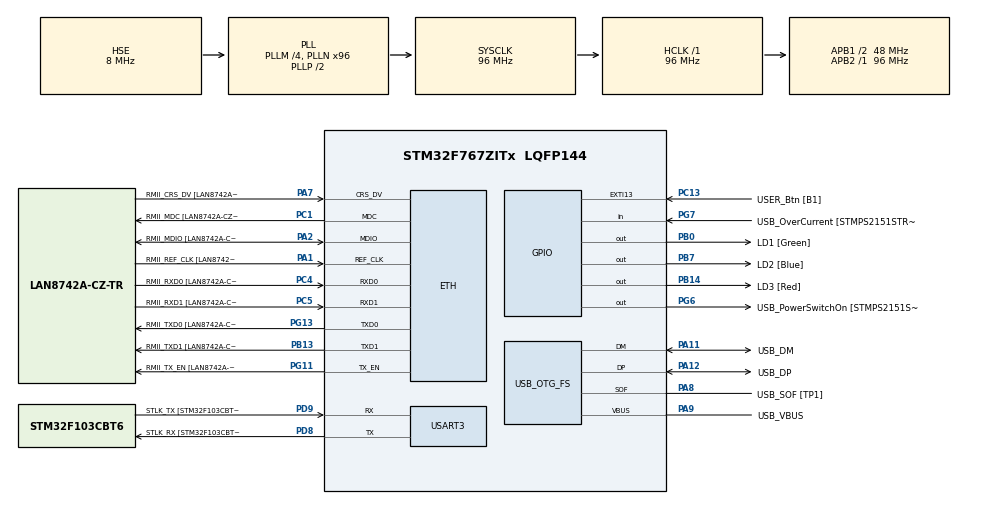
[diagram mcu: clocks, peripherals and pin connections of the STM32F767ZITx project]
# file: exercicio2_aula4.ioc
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ETH.MediaInterface=HAL_ETH_RMII_MODE
ETH.PHY_Name=LAN8742A_PHY_ADDRESS
ETH.PHY_Value=0
ETH.PhyAddress=0
FREERTOS.CountingSemaphores01=Semaforocont,2,Dynamic,NULL,0
FREERTOS.Tasks01=Task01,24,128,Task01Fun,Default,NULL,Dynamic,NULL,NULL;Task02,24,128,Task02Fun,Default,NULL,Dynamic,NULL,NULL;Task03,24,128,Task03Fun,Default,NULL,Dynamic,NULL,NULL
FREERTOS.configUSE_NEWLIB_REENTRANT=1
Mcu.Family=STM32F7
Mcu.Name=STM32F767ZITx
Mcu.Package=LQFP144
NVIC.EXTI15_10_IRQn=true\:5\:0\:false\:false\:true\:true\:true\:true\:true
NVIC.PriorityGroup=NVIC_PRIORITYGROUP_4
NVIC.TIM1_UP_TIM10_IRQn=true\:15\:0\:false\:false\:true\:false\:false\:true\:true
NVIC.TimeBase=TIM1_UP_TIM10_IRQn
NVIC.TimeBaseIP=TIM1
PA1.GPIO_Label=RMII_REF_CLK [LAN8742A-CZ-TR_REFCLK0]
PA1.Mode=RMII
PA1.Signal=ETH_REF_CLK
PA10.GPIO_Label=USB_ID
PA10.Signal=USB_OTG_FS_ID
PA11.GPIO_Label=USB_DM
PA11.Mode=Device_Only
PA11.Signal=USB_OTG_FS_DM
PA12.GPIO_Label=USB_DP
PA12.Mode=Device_Only
PA12.Signal=USB_OTG_FS_DP
PA13.GPIO_Label=TMS
PA13.Mode=Serial_Wire
PA13.Signal=SYS_JTMS-SWDIO
PA14.GPIO_Label=TCK
PA14.Mode=Serial_Wire
PA14.Signal=SYS_JTCK-SWCLK
PA2.GPIO_Label=RMII_MDIO [LAN8742A-CZ-TR_MDIO]
PA2.Mode=RMII
PA2.Signal=ETH_MDIO
PA7.GPIO_Label=RMII_CRS_DV [LAN8742A-CZ-TR_CRS_DV]
PA7.Mode=RMII
PA7.Signal=ETH_CRS_DV
PA8.GPIO_Label=USB_SOF [TP1]
PA8.Mode=Activate_SOF_FS
PA8.Signal=USB_OTG_FS_SOF
PA9.GPIO_Label=USB_VBUS
PA9.Mode=Activate_VBUS
PA9.Signal=USB_OTG_FS_VBUS
PB0.GPIO_Label=LD1 [Green]
PB0.Signal=GPIO_Output
PB13.GPIO_Label=RMII_TXD1 [LAN8742A-CZ-TR_TXD1]
PB13.Mode=RMII
PB13.Signal=ETH_TXD1
PB14.GPIO_Label=LD3 [Red]
PB14.Signal=GPIO_Output
PB3.GPIO_Label=SWO
PB3.Signal=SYS_JTDO-SWO
PB7.GPIO_Label=LD2 [Blue]
PB7.Signal=GPIO_Output
PC1.GPIO_Label=RMII_MDC [LAN8742A-CZ-TR_MDC]
PC1.Mode=RMII
PC1.Signal=ETH_MDC
PC13.GPIO_Label=USER_Btn [B1]
PC13.Signal=GPXTI13
PC14/OSC32_IN.Mode=LSE-External-Oscillator
PC14/OSC32_IN.Signal=RCC_OSC32_IN
PC15/OSC32_OUT.Mode=LSE-External-Oscillator
PC15/OSC32_OUT.Signal=RCC_OSC32_OUT
PC4.GPIO_Label=RMII_RXD0 [LAN8742A-CZ-TR_RXD0]
PC4.Mode=RMII
PC4.Signal=ETH_RXD0
PC5.GPIO_Label=RMII_RXD1 [LAN8742A-CZ-TR_RXD1]
PC5.Mode=RMII
PC5.Signal=ETH_RXD1
PD8.GPIO_Label=STLK_RX [STM32F103CBT6_PA3]
PD8.Mode=Asynchronous
PD8.Signal=USART3_TX
PD9.GPIO_Label=STLK_TX [STM32F103CBT6_PA2]
PD9.Mode=Asynchronous
PD9.Signal=USART3_RX
PG11.GPIO_Label=RMII_TX_EN [LAN8742A-CZ-TR_TXEN]
PG11.Mode=RMII
PG11.Signal=ETH_TX_EN
PG13.GPIO_Label=RMII_TXD0 [LAN8742A-CZ-TR_TXD0]
PG13.Mode=RMII
PG13.Signal=ETH_TXD0
PG6.GPIO_Label=USB_PowerSwitchOn [STMPS2151STR_EN]
PG6.Signal=GPIO_Output
PG7.GPIO_Label=USB_OverCurrent [STMPS2151STR_FAULT]
PG7.Signal=GPIO_Input
PH0/OSC_IN.GPIO_Label=MCO [STM32F103CBT6_PA8]
PH0/OSC_IN.Mode=HSE-External-Clock-Source
PH0/OSC_IN.Signal=RCC_OSC_IN
PH1/OSC_OUT.Mode=HSE-External-Clock-Source
PH1/OSC_OUT.Signal=RCC_OSC_OUT
ProjectManager.HeapSize=0x200
ProjectManager.StackSize=0x400
ProjectManager.TargetToolchain=STM32CubeIDE
RCC.48MHZClocksFreq_Value=24000000
RCC.AHBFreq_Value=96000000
RCC.APB1CLKDivider=RCC_HCLK_DIV2
RCC.APB1Freq_Value=48000000
RCC.APB1TimFreq_Value=96000000
RCC.APB2Freq_Value=96000000
RCC.APB2TimFreq_Value=96000000
RCC.CortexFreq_Value=96000000
RCC.HCLKFreq_Value=96000000
RCC.HSE_VALUE=8000000
RCC.HSI_VALUE=16000000
RCC.PLLM=4
RCC.PLLMUL=RCC_PLL_MUL9
RCC.PLLN=96
RCC.PLLQ=4
RCC.PRESCALERUSB=RCC_USBCLKSOURCE_PLL_DIV1_5
RCC.SYSCLKFreq_VALUE=96000000
RCC.SYSCLKSource=RCC_SYSCLKSOURCE_PLLCLK
RCC.SYSCLKSourceVirtual=RCC_SYSCLKSOURCE_PLLCLK
RCC.USBFreq_Value=48000000
RCC.VCOOutputFreq_Value=192000000
USART3.VirtualMode-Asynchronous=VM_ASYNC
USB_OTG_FS.VirtualMode=Device_Only
VP_FREERTOS_VS_CMSIS_V2.Mode=CMSIS_V2
VP_SYS_VS_tim1.Mode=TIM1
board=NUCLEO-F767ZI

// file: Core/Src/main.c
/* USER CODE BEGIN Header */
/**
  ******************************************************************************
  * @file           : main.c
  * @brief          : Main program body
  ******************************************************************************
  * @attention
  *
  * Copyright (c) 2025 STMicroelectronics.
  * All rights reserved.
  *
  * This software is licensed under terms that can be found in the LICENSE file
  * in the root directory of this software component.
  * If no LICENSE file comes with this software, it is provided AS-IS.
  *
  ******************************************************************************
  */
/* USER CODE END Header */
#include "main.h"
#include "string.h"
#include "cmsis_os.h"

#if defined ( __ICCARM__ ) /*!< IAR Compiler */
#pragma location=0x2007c000
ETH_DMADescTypeDef  DMARxDscrTab[ETH_RX_DESC_CNT]; /* Ethernet Rx DMA Descriptors */
#pragma location=0x2007c0a0
ETH_DMADescTypeDef  DMATxDscrTab[ETH_TX_DESC_CNT]; /* Ethernet Tx DMA Descriptors */

#elif defined ( __CC_ARM )  /* MDK ARM Compiler */

__attribute__((at(0x2007c000))) ETH_DMADescTypeDef  DMARxDscrTab[ETH_RX_DESC_CNT]; /* Ethernet Rx DMA Descriptors */
__attribute__((at(0x2007c0a0))) ETH_DMADescTypeDef  DMATxDscrTab[ETH_TX_DESC_CNT]; /* Ethernet Tx DMA Descriptors */

#elif defined ( __GNUC__ ) /* GNU Compiler */

ETH_DMADescTypeDef DMARxDscrTab[ETH_RX_DESC_CNT] __attribute__((section(".RxDecripSection"))); /* Ethernet Rx DMA Descriptors */
ETH_DMADescTypeDef DMATxDscrTab[ETH_TX_DESC_CNT] __attribute__((section(".TxDecripSection")));   /* Ethernet Tx DMA Descriptors */
#endif

ETH_TxPacketConfig TxConfig;

ETH_HandleTypeDef heth;

UART_HandleTypeDef huart3;

PCD_HandleTypeDef hpcd_USB_OTG_FS;

/* Definitions for Task01 */
osThreadId_t Task01Handle;
const osThreadAttr_t Task01_attributes = {
  .name = "Task01",
  .stack_size = 128 * 4,
  .priority = (osPriority_t) osPriorityNormal,
};
/* Definitions for Task02 */
osThreadId_t Task02Handle;
const osThreadAttr_t Task02_attributes = {
  .name = "Task02",
  .stack_size = 128 * 4,
  .priority = (osPriority_t) osPriorityNormal,
};
/* Definitions for Task03 */
osThreadId_t Task03Handle;
const osThreadAttr_t Task03_attributes = {
  .name = "Task03",
  .stack_size = 128 * 4,
  .priority = (osPriority_t) osPriorityNormal,
};
/* Definitions for Semaforocont */
osSemaphoreId_t SemaforocontHandle;
const osSemaphoreAttr_t Semaforocont_attributes = {
  .name = "Semaforocont"
};

void SystemClock_Config(void);
static void MX_GPIO_Init(void);
static void MX_ETH_Init(void);
static void MX_USART3_UART_Init(void);
static void MX_USB_OTG_FS_PCD_Init(void);
void Task01Fun(void *argument);
void Task02Fun(void *argument);
void Task03Fun(void *argument);

int main(void)
{

  /* MCU Configuration--------------------------------------------------------*/

  /* Reset of all peripherals, Initializes the Flash interface and the Systick. */
  HAL_Init();

  /* Configure the system clock */
  SystemClock_Config();

  /* Initialize all configured peripherals */
  MX_GPIO_Init();
  MX_ETH_Init();
  MX_USART3_UART_Init();
  MX_USB_OTG_FS_PCD_Init();

  /* Init scheduler */
  osKernelInitialize();

  /* Create the semaphores(s) */
  /* creation of Semaforocont */
  SemaforocontHandle = osSemaphoreNew(2, 0, &Semaforocont_attributes);

  /* Create the thread(s) */
  /* creation of Task01 */
  Task01Handle = osThreadNew(Task01Fun, NULL, &Task01_attributes);

  /* creation of Task02 */
  Task02Handle = osThreadNew(Task02Fun, NULL, &Task02_attributes);

  /* creation of Task03 */
  Task03Handle = osThreadNew(Task03Fun, NULL, &Task03_attributes);

  /* Start scheduler */
  osKernelStart();

  /* We should never get here as control is now taken by the scheduler */

  /* Infinite loop */
  while (1)
  {

  }
}

void SystemClock_Config(void)
{
  RCC_OscInitTypeDef RCC_OscInitStruct = {0};
  RCC_ClkInitTypeDef RCC_ClkInitStruct = {0};

  /** Configure LSE Drive Capability
  */
  HAL_PWR_EnableBkUpAccess();

  /** Configure the main internal regulator output voltage
  */
  __HAL_RCC_PWR_CLK_ENABLE();
  __HAL_PWR_VOLTAGESCALING_CONFIG(PWR_REGULATOR_VOLTAGE_SCALE3);

  /** Initializes the RCC Oscillators according to the specified parameters
  * in the RCC_OscInitTypeDef structure.
  */
  RCC_OscInitStruct.OscillatorType = RCC_OSCILLATORTYPE_HSE;
  RCC_OscInitStruct.HSEState = RCC_HSE_BYPASS;
  RCC_OscInitStruct.PLL.PLLState = RCC_PLL_ON;
  RCC_OscInitStruct.PLL.PLLSource = RCC_PLLSOURCE_HSE;
  RCC_OscInitStruct.PLL.PLLM = 4;
  RCC_OscInitStruct.PLL.PLLN = 96;
  RCC_OscInitStruct.PLL.PLLP = RCC_PLLP_DIV2;
  RCC_OscInitStruct.PLL.PLLQ = 4;
  RCC_OscInitStruct.PLL.PLLR = 2;
  if (HAL_RCC_OscConfig(&RCC_OscInitStruct) != HAL_OK)
  {
    Error_Handler();
  }

  /** Activate the Over-Drive mode
  */
  if (HAL_PWREx_EnableOverDrive() != HAL_OK)
  {
    Error_Handler();
  }

  /** Initializes the CPU, AHB and APB buses clocks
  */
  RCC_ClkInitStruct.ClockType = RCC_CLOCKTYPE_HCLK|RCC_CLOCKTYPE_SYSCLK
                              |RCC_CLOCKTYPE_PCLK1|RCC_CLOCKTYPE_PCLK2;
  RCC_ClkInitStruct.SYSCLKSource = RCC_SYSCLKSOURCE_PLLCLK;
  RCC_ClkInitStruct.AHBCLKDivider = RCC_SYSCLK_DIV1;
  RCC_ClkInitStruct.APB1CLKDivider = RCC_HCLK_DIV2;
  RCC_ClkInitStruct.APB2CLKDivider = RCC_HCLK_DIV1;

  if (HAL_RCC_ClockConfig(&RCC_ClkInitStruct, FLASH_LATENCY_3) != HAL_OK)
  {
    Error_Handler();
  }
}

static void MX_ETH_Init(void)
{

   static uint8_t MACAddr[6];

  heth.Instance = ETH;
  MACAddr[0] = 0x00;
  MACAddr[1] = 0x80;
  MACAddr[2] = 0xE1;
  MACAddr[3] = 0x00;
  MACAddr[4] = 0x00;
  MACAddr[5] = 0x00;
  heth.Init.MACAddr = &MACAddr[0];
  heth.Init.MediaInterface = HAL_ETH_RMII_MODE;
  heth.Init.TxDesc = DMATxDscrTab;
  heth.Init.RxDesc = DMARxDscrTab;
  heth.Init.RxBuffLen = 1524;

  if (HAL_ETH_Init(&heth) != HAL_OK)
  {
    Error_Handler();
  }

  memset(&TxConfig, 0 , sizeof(ETH_TxPacketConfig));
  TxConfig.Attributes = ETH_TX_PACKETS_FEATURES_CSUM | ETH_TX_PACKETS_FEATURES_CRCPAD;
  TxConfig.ChecksumCtrl = ETH_CHECKSUM_IPHDR_PAYLOAD_INSERT_PHDR_CALC;
  TxConfig.CRCPadCtrl = ETH_CRC_PAD_INSERT;

}

static void MX_USART3_UART_Init(void)
{

  huart3.Instance = USART3;
  huart3.Init.BaudRate = 115200;
  huart3.Init.WordLength = UART_WORDLENGTH_8B;
  huart3.Init.StopBits = UART_STOPBITS_1;
  huart3.Init.Parity = UART_PARITY_NONE;
  huart3.Init.Mode = UART_MODE_TX_RX;
  huart3.Init.HwFlowCtl = UART_HWCONTROL_NONE;
  huart3.Init.OverSampling = UART_OVERSAMPLING_16;
  huart3.Init.OneBitSampling = UART_ONE_BIT_SAMPLE_DISABLE;
  huart3.AdvancedInit.AdvFeatureInit = UART_ADVFEATURE_NO_INIT;
  if (HAL_UART_Init(&huart3) != HAL_OK)
  {
    Error_Handler();
  }

}

static void MX_USB_OTG_FS_PCD_Init(void)
{

  hpcd_USB_OTG_FS.Instance = USB_OTG_FS;
  hpcd_USB_OTG_FS.Init.dev_endpoints = 6;
  hpcd_USB_OTG_FS.Init.speed = PCD_SPEED_FULL;
  hpcd_USB_OTG_FS.Init.dma_enable = DISABLE;
  hpcd_USB_OTG_FS.Init.phy_itface = PCD_PHY_EMBEDDED;
  hpcd_USB_OTG_FS.Init.Sof_enable = ENABLE;
  hpcd_USB_OTG_FS.Init.low_power_enable = DISABLE;
  hpcd_USB_OTG_FS.Init.lpm_enable = DISABLE;
  hpcd_USB_OTG_FS.Init.vbus_sensing_enable = ENABLE;
  hpcd_USB_OTG_FS.Init.use_dedicated_ep1 = DISABLE;
  if (HAL_PCD_Init(&hpcd_USB_OTG_FS) != HAL_OK)
  {
    Error_Handler();
  }

}

static void MX_GPIO_Init(void)
{
  GPIO_InitTypeDef GPIO_InitStruct = {0};

  /* GPIO Ports Clock Enable */
  __HAL_RCC_GPIOC_CLK_ENABLE();
  __HAL_RCC_GPIOH_CLK_ENABLE();
  __HAL_RCC_GPIOA_CLK_ENABLE();
  __HAL_RCC_GPIOB_CLK_ENABLE();
  __HAL_RCC_GPIOD_CLK_ENABLE();
  __HAL_RCC_GPIOG_CLK_ENABLE();

  /*Configure GPIO pin Output Level */
  HAL_GPIO_WritePin(GPIOB, LD1_Pin|LD3_Pin|LD2_Pin, GPIO_PIN_RESET);

  /*Configure GPIO pin Output Level */
  HAL_GPIO_WritePin(USB_PowerSwitchOn_GPIO_Port, USB_PowerSwitchOn_Pin, GPIO_PIN_RESET);

  /*Configure GPIO pin : USER_Btn_Pin */
  GPIO_InitStruct.Pin = USER_Btn_Pin;
  GPIO_InitStruct.Mode = GPIO_MODE_IT_RISING;
  GPIO_InitStruct.Pull = GPIO_NOPULL;
  HAL_GPIO_Init(USER_Btn_GPIO_Port, &GPIO_InitStruct);

  /*Configure GPIO pins : LD1_Pin LD3_Pin LD2_Pin */
  GPIO_InitStruct.Pin = LD1_Pin|LD3_Pin|LD2_Pin;
  GPIO_InitStruct.Mode = GPIO_MODE_OUTPUT_PP;
  GPIO_InitStruct.Pull = GPIO_NOPULL;
  GPIO_InitStruct.Speed = GPIO_SPEED_FREQ_LOW;
  HAL_GPIO_Init(GPIOB, &GPIO_InitStruct);

  /*Configure GPIO pin : USB_PowerSwitchOn_Pin */
  GPIO_InitStruct.Pin = USB_PowerSwitchOn_Pin;
  GPIO_InitStruct.Mode = GPIO_MODE_OUTPUT_PP;
  GPIO_InitStruct.Pull = GPIO_NOPULL;
  GPIO_InitStruct.Speed = GPIO_SPEED_FREQ_LOW;
  HAL_GPIO_Init(USB_PowerSwitchOn_GPIO_Port, &GPIO_InitStruct);

  /*Configure GPIO pin : USB_OverCurrent_Pin */
  GPIO_InitStruct.Pin = USB_OverCurrent_Pin;
  GPIO_InitStruct.Mode = GPIO_MODE_INPUT;
  GPIO_InitStruct.Pull = GPIO_NOPULL;
  HAL_GPIO_Init(USB_OverCurrent_GPIO_Port, &GPIO_InitStruct);

  /* EXTI interrupt init*/
  HAL_NVIC_SetPriority(EXTI15_10_IRQn, 5, 0);
  HAL_NVIC_EnableIRQ(EXTI15_10_IRQn);

}

/* USER CODE BEGIN 4 */
void HAL_GPIO_EXTI_Callback(uint16_t GPIO_Pin){

	if (GPIO_Pin == GPIO_PIN_13) {
		char *str1 = "interrupcao ativada\n";

		HAL_UART_Transmit(&huart3, (uint8_t*) str1, strlen(str1), 100);
		osSemaphoreRelease(SemaforocontHandle);
		//osSemaphoreRelease(SemaforocontHandle);

	}

}

uint8_t cont;

/* USER CODE END 4 */

/* USER CODE BEGIN Header_Task01Fun */
/* USER CODE END Header_task01fun */
void Task01Fun(void *argument)
{
  /* USER CODE BEGIN 5 */
  /* Infinite loop */
  char msg[] = "Executando Task1...\r\n";

	  for(;;)
	  {
		osSemaphoreAcquire(SemaforocontHandle, osWaitForever);
		cont = osSemaphoreGetCount(SemaforocontHandle);

		HAL_UART_Transmit(&huart3, (uint8_t*)msg, strlen(msg), HAL_MAX_DELAY);

		//cont = osSemaphoreGetCount(SemaforocontHandle);
		osDelay(500);
	  }
  /* USER CODE END 5 */
}

void Task02Fun(void *argument)
{
  /* USER CODE BEGIN Task02Fun */
  /* Infinite loop */
	char msg[] = "Executando Task2 ...\r\n";
	  for(;;)
	  {
		osSemaphoreAcquire(SemaforocontHandle, osWaitForever);
		cont = osSemaphoreGetCount(SemaforocontHandle);

		//HAL_GPIO_TogglePin(GPIOB, LD2_Pin);

		HAL_UART_Transmit(&huart3, (uint8_t*)msg, strlen(msg), HAL_MAX_DELAY);

		//osSemaphoreRelease(SemaforocontHandle);
		//cont = osSemaphoreGetCount(SemaforocontHandle);

	    osDelay(500);
	  }
  /* USER CODE END Task02Fun */
}

void Task03Fun(void *argument)
{
  /* USER CODE BEGIN Task03Fun */
  /* Infinite loop */
	char msg[] = "Executando Task3...\r\n";
	  for(;;)
	  {
		osSemaphoreAcquire(SemaforocontHandle, osWaitForever);
		cont = osSemaphoreGetCount(SemaforocontHandle);

		HAL_UART_Transmit(&huart3, (uint8_t*)msg, strlen(msg), HAL_MAX_DELAY);

		//osSemaphoreRelease(SemaforocontHandle);
//		cont = osSemaphoreGetCount(SemaforocontHandle);

	    osDelay(500);
	  }
  /* USER CODE END Task03Fun */
}

void HAL_TIM_PeriodElapsedCallback(TIM_HandleTypeDef *htim)
{
  if (htim->Instance == TIM1)
  {
    HAL_IncTick();
  }
}

void Error_Handler(void)
{
  __disable_irq();
  while (1)
  {
  }
}
